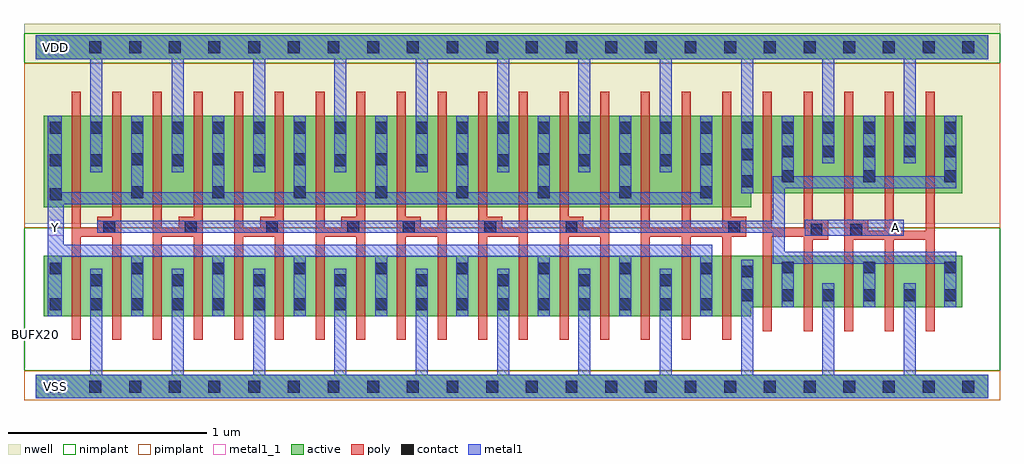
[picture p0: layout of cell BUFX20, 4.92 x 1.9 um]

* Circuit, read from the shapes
.subckt BUFX20 A VDD VSS Y
M1 VSS n1 Y VSS nfet w=0.305u l=0.045u m=17
M2 n1 A VSS VSS nfet w=0.26u l=0.045u m=5
M3 VDD n1 Y VDD pfet w=0.46u l=0.045u m=17
M4 n1 A VDD VDD pfet w=0.39u l=0.045u m=5
.ends

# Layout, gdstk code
import gdstk
lib = gdstk.Library(unit=1e-6, precision=5e-10)
def R(c, l, rs):  # rectangles x0, y0, x1, y1
    for r in rs: c.add(gdstk.rectangle(r[:2], r[2:], *l))
def A(c, l, x, y, w, h, nx, ny, dx, dy):  # array of equal rectangles
    R(c, l, [(x+i*dx, y+j*dy, x+i*dx+w, y+j*dy+h) for i in range(nx) for j in range(ny)])
def P(c, l, *ps):  # polygons
    for p in ps: c.add(gdstk.Polygon(p, *l))
active = (1, 0)
nwell = (2, 0)
poly = (3, 0)
nimplant = (4, 0)
pimplant = (5, 0)
contact = (6, 0)
metal1 = (7, 0)
metal1_1 = (7, 1)

bufx20 = lib.new_cell('BUFX20')
R(bufx20, active, [(0,-0.06,4.8,0.06), (0,1.65,4.8,1.77)])
P(bufx20, active, [(0.04,1.365),(4.67,1.365),(4.67,0.975),(3.605,0.975),(3.605,0.905),(0.04,0.905)],
  [(0.04,0.66),(4.67,0.66),(4.67,0.4),(3.605,0.4),(3.605,0.355),(0.04,0.355)])
R(bufx20, nwell, [(-0.06,0.82,4.86,1.83)])
P(bufx20, poly, [(0.18,1.485),(0.225,1.485),(0.225,0.8),(0.31,0.8),(0.31,0.855),(0.385,0.855),(0.385,1.485),(0.43,1.485),(0.43,0.235),(0.385,0.235),(0.385,0.755),(0.225,0.755),(0.225,0.235),(0.18,0.235)],
  [(0.59,1.485),(0.635,1.485),(0.635,0.8),(0.72,0.8),(0.72,0.855),(0.795,0.855),(0.795,1.485),(0.84,1.485),(0.84,0.235),(0.795,0.235),(0.795,0.755),(0.635,0.755),(0.635,0.235),(0.59,0.235)],
  [(1,1.485),(1.045,1.485),(1.045,0.8),(1.13,0.8),(1.13,0.855),(1.205,0.855),(1.205,1.485),(1.25,1.485),(1.25,0.235),(1.205,0.235),(1.205,0.755),(1.045,0.755),(1.045,0.235),(1,0.235)],
  [(1.41,1.485),(1.455,1.485),(1.455,0.8),(1.54,0.8),(1.54,0.855),(1.615,0.855),(1.615,1.485),(1.66,1.485),(1.66,0.235),(1.615,0.235),(1.615,0.755),(1.455,0.755),(1.455,0.235),(1.41,0.235)],
  [(1.82,1.485),(1.865,1.485),(1.865,0.855),(1.94,0.855),(1.94,0.8),(2.025,0.8),(2.025,1.485),(2.07,1.485),(2.07,0.235),(2.025,0.235),(2.025,0.755),(1.865,0.755),(1.865,0.235),(1.82,0.235)],
  [(2.23,1.485),(2.275,1.485),(2.275,0.855),(2.35,0.855),(2.35,0.8),(2.435,0.8),(2.435,1.485),(2.48,1.485),(2.48,0.235),(2.435,0.235),(2.435,0.755),(2.275,0.755),(2.275,0.235),(2.23,0.235)],
  [(2.64,1.485),(2.685,1.485),(2.685,0.855),(2.76,0.855),(2.76,0.8),(2.845,0.8),(2.845,1.485),(2.89,1.485),(2.89,0.235),(2.845,0.235),(2.845,0.755),(2.685,0.755),(2.685,0.235),(2.64,0.235)],
  [(3.05,1.485),(3.095,1.485),(3.095,0.8),(3.255,0.8),(3.255,1.485),(3.3,1.485),(3.3,0.8),(3.46,0.8),(3.46,1.485),(3.505,1.485),(3.505,0.855),(3.58,0.855),(3.58,0.755),(3.505,0.755),(3.505,0.235),(3.46,0.235),(3.46,0.755),(3.3,0.755),(3.3,0.235),(3.255,0.235),(3.255,0.755),(3.095,0.755),(3.095,0.235),(3.05,0.235)],
  [(3.665,1.485),(3.71,1.485),(3.71,0.8),(3.87,0.8),(3.87,1.485),(3.915,1.485),(3.915,0.84),(3.995,0.84),(3.995,0.74),(3.915,0.74),(3.915,0.28),(3.87,0.28),(3.87,0.755),(3.71,0.755),(3.71,0.28),(3.665,0.28)],
  [(4.075,1.485),(4.12,1.485),(4.12,0.84),(4.195,0.84),(4.195,0.785),(4.28,0.785),(4.28,1.485),(4.325,1.485),(4.325,0.785),(4.485,0.785),(4.485,1.485),(4.53,1.485),(4.53,0.28),(4.485,0.28),(4.485,0.74),(4.325,0.74),(4.325,0.28),(4.28,0.28),(4.28,0.74),(4.12,0.74),(4.12,0.28),(4.075,0.28)])
R(bufx20, nimplant, [(-0.06,0.08,4.86,0.8), (-0.06,1.63,4.86,1.78)])
R(bufx20, pimplant, [(-0.06,-0.07,4.86,0.08), (-0.06,0.8,4.86,1.63)])
A(bufx20, contact, 0.07, -0.03, 0.06, 0.06, 24, 2, 0.2, 1.71)
A(bufx20, contact, 0.07, 0.385, 0.06, 0.06, 17, 1, 0.205, 0)
A(bufx20, contact, 3.555, 0.43, 0.06, 0.06, 6, 1, 0.205, 0)
A(bufx20, contact, 0.275, 0.505, 0.06, 0.06, 8, 2, 0.41, 0.605)
A(bufx20, contact, 0.07, 0.565, 0.06, 0.06, 9, 1, 0.41, 0)
A(bufx20, contact, 3.76, 0.57, 0.06, 0.06, 3, 2, 0.41, 0.46)
A(bufx20, contact, 0.34, 0.775, 0.06, 0.06, 4, 1, 0.41, 0)
A(bufx20, contact, 1.85, 0.775, 0.06, 0.06, 3, 1, 0.41, 0)
A(bufx20, contact, 0.48, 0.95, 0.06, 0.06, 8, 2, 0.41, 0.165)
A(bufx20, contact, 3.76, 1.155, 0.06, 0.06, 5, 1, 0.205, 0)
A(bufx20, contact, 0.07, 1.275, 0.06, 0.06, 23, 1, 0.205, 0)
R(bufx20, contact, [(3.555,0.55,3.615,0.61), (3.905,0.76,3.965,0.82), (4.105,0.76,4.165,0.82), (3.49,0.775,3.55,0.835), (0.07,0.94,0.13,1), (3.555,1.005,3.615,1.065), (0.07,1.11,0.13,1.17), (3.555,1.14,3.615,1.2)])
R(bufx20, metal1, [(3.875,0.76,4.375,0.84)])
P(bufx20, metal1, [(0,1.77),(4.8,1.77),(4.8,1.65),(4.435,1.65),(4.435,1.125),(4.375,1.125),(4.375,1.65),(4.025,1.65),(4.025,1.125),(3.965,1.125),(3.965,1.65),(3.615,1.65),(3.615,0.975),(3.555,0.975),(3.555,1.65),(3.205,1.65),(3.205,1.08),(3.145,1.08),(3.145,1.65),(2.795,1.65),(2.795,1.08),(2.735,1.08),(2.735,1.65),(2.385,1.65),(2.385,1.08),(2.325,1.08),(2.325,1.65),(1.975,1.65),(1.975,1.08),(1.915,1.08),(1.915,1.65),(1.565,1.65),(1.565,1.08),(1.505,1.08),(1.505,1.65),(1.155,1.65),(1.155,1.08),(1.095,1.08),(1.095,1.65),(0.745,1.65),(0.745,1.08),(0.685,1.08),(0.685,1.65),(0.335,1.65),(0.335,1.08),(0.275,1.08),(0.275,1.65),(0,1.65)],
  [(0.06,1.365),(0.13,1.365),(0.13,0.98),(0.48,0.98),(0.48,1.365),(0.54,1.365),(0.54,0.98),(0.89,0.98),(0.89,1.365),(0.95,1.365),(0.95,0.98),(1.3,0.98),(1.3,1.365),(1.36,1.365),(1.36,0.98),(1.71,0.98),(1.71,1.365),(1.77,1.365),(1.77,0.98),(2.12,0.98),(2.12,1.365),(2.18,1.365),(2.18,0.98),(2.53,0.98),(2.53,1.365),(2.59,1.365),(2.59,0.98),(2.94,0.98),(2.94,1.365),(3,1.365),(3,0.98),(3.35,0.98),(3.35,1.365),(3.41,1.365),(3.41,0.92),(0.14,0.92),(0.14,0.715),(3.41,0.715),(3.41,0.355),(3.35,0.355),(3.35,0.655),(3,0.655),(3,0.355),(2.94,0.355),(2.94,0.655),(2.59,0.655),(2.59,0.355),(2.53,0.355),(2.53,0.655),(2.18,0.655),(2.18,0.355),(2.12,0.355),(2.12,0.655),(1.77,0.655),(1.77,0.355),(1.71,0.355),(1.71,0.655),(1.36,0.655),(1.36,0.355),(1.3,0.355),(1.3,0.655),(0.95,0.655),(0.95,0.355),(0.89,0.355),(0.89,0.655),(0.54,0.655),(0.54,0.355),(0.48,0.355),(0.48,0.655),(0.13,0.655),(0.13,0.355),(0.06,0.355)],
  [(3.76,1.365),(3.82,1.365),(3.82,1.06),(4.17,1.06),(4.17,1.365),(4.23,1.365),(4.23,1.06),(4.58,1.06),(4.58,1.365),(4.64,1.365),(4.64,1),(3.775,1),(3.775,0.68),(4.64,0.68),(4.64,0.4),(4.58,0.4),(4.58,0.62),(4.23,0.62),(4.23,0.4),(4.17,0.4),(4.17,0.62),(3.82,0.62),(3.82,0.4),(3.76,0.4),(3.76,0.62),(3.715,0.62),(3.715,0.775),(0.31,0.775),(0.31,0.835),(3.715,0.835),(3.715,1.06),(3.76,1.06)],
  [(0.275,0.595),(0.335,0.595),(0.335,0.06),(0.685,0.06),(0.685,0.595),(0.745,0.595),(0.745,0.06),(1.095,0.06),(1.095,0.595),(1.155,0.595),(1.155,0.06),(1.505,0.06),(1.505,0.595),(1.565,0.595),(1.565,0.06),(1.915,0.06),(1.915,0.595),(1.975,0.595),(1.975,0.06),(2.325,0.06),(2.325,0.595),(2.385,0.595),(2.385,0.06),(2.735,0.06),(2.735,0.595),(2.795,0.595),(2.795,0.06),(3.145,0.06),(3.145,0.595),(3.205,0.595),(3.205,0.06),(3.555,0.06),(3.555,0.64),(3.615,0.64),(3.615,0.06),(3.965,0.06),(3.965,0.52),(4.025,0.52),(4.025,0.06),(4.375,0.06),(4.375,0.52),(4.435,0.52),(4.435,0.06),(4.8,0.06),(4.8,-0.06),(0,-0.06),(0,0.06),(0.275,0.06)])
R(bufx20, metal1_1, [(0.06,-0.04,0.14,0.04), (0.06,0.76,0.14,0.84), (4.295,0.76,4.375,0.84), (0.06,1.67,0.14,1.75)])
bufx20.add(gdstk.Label('A', (4.335,0.8), layer=7, texttype=1))
bufx20.add(gdstk.Label('Y', (0.1,0.8), layer=7, texttype=1))
bufx20.add(gdstk.Label('VDD', (0.1,1.71), layer=7, texttype=1))
bufx20.add(gdstk.Label('VSS', (0.1,0), layer=7, texttype=1))
bufx20.add(gdstk.Label('BUFX20', (0,0.265), layer=63, texttype=0))

lib.write_gds('BUFX20.gds')
